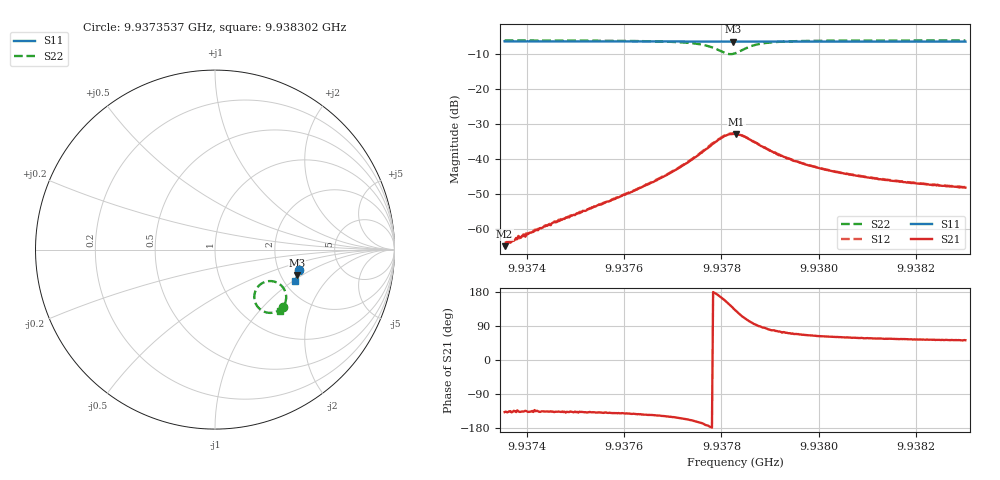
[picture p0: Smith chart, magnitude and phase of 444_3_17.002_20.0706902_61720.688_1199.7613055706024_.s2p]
#  HZ  S  RI  R  50.00
! Rohde & Schwarz Vector Network Analyzer
! Rohde-Schwarz,ZNB20-2Port,1311601062101988,3.16
! Created: UTC 3/20/2024, 11:12:00 PM
! freq[Hz]  re:S11  im:S11  re:S21  im:S21  re:S12  im:S12  re:S22  im:S22
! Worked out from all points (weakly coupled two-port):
!   401 points, 9.9373537 GHz to 9.938302 GHz, reference 50 ohm
!   highest |S21| = -32.82 dB at 9.9378302 GHz (marker M1); lowest = -65.0 dB at 9.9373537 GHz (marker M2)
!   lowest |S11| = -6.4 dB at 9.9378231 GHz (marker M3), VSWR 2.84, Z = 123 - j44.9 ohm
!   |S11| at or under -10 dB: nowhere
!   |S22| runs from -10.0 to -6.1 dB; largest |S21 - S12| = 0.001
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9.93735373e9  0.4703 -0.112  -0.000415 -0.000381  -0.000474 -0.00042  0.3806 -0.3203
9.93737269e9  0.4698 -0.1132  -0.00047 -0.000486  -0.000457 -0.00048  0.3793 -0.3217
9.9373964e9  0.4692 -0.1149  -0.000534 -0.000555  -0.000624 -0.000553  0.3773 -0.3234
9.93743433e9  0.4685 -0.1174  -0.000769 -0.000754  -0.000811 -0.000729  0.374 -0.3264
9.93751256e9  0.4667 -0.1226  -0.00127 -0.00119  -0.00131 -0.00116  0.3655 -0.333
9.93761687e9  0.4644 -0.1296  -0.00269 -0.00209  -0.0028 -0.00212  0.3482 -0.3434
9.93767139e9  0.4629 -0.1334  -0.00432 -0.00285  -0.00444 -0.00281  0.3318 -0.3497
9.93772592e9  0.4613 -0.1371  -0.00777 -0.00352  -0.00794 -0.0034  0.301 -0.3524
9.93776622e9  0.4596 -0.1397  -0.0133 -0.00213  -0.0136 -0.00203  0.2572 -0.3368
9.93778519e9  0.4586 -0.1408  -0.017 0.00074  -0.0172 0.00108  0.231 -0.3086
9.93780178e9  0.4578 -0.1411  -0.0194 0.00597  -0.0197 0.00679  0.2188 -0.2628
9.93781363e9  0.4574 -0.1412  -0.0192 0.0113  -0.0194 0.0121  0.2292 -0.2222
9.93782312e9  0.4572 -0.1414  -0.017 0.0152  -0.0169 0.0162  0.2524 -0.1943
9.93782786e9  0.4574 -0.1415  -0.0153 0.0169  -0.015 0.0177  0.2679 -0.1845
9.93783023e9  0.4575 -0.1416  -0.0145 0.0177  -0.0141 0.0184  0.2759 -0.1809
9.9378563e9  0.4579 -0.1428  -0.00431 0.0188  -0.00382 0.0192  0.3549 -0.1888
9.93788475e9  0.4578 -0.145  0.00114 0.0149  0.00152 0.015  0.3894 -0.229
9.93793454e9  0.457 -0.1488  0.00312 0.00967  0.0035 0.0098  0.396 -0.2743
9.93798669e9  0.4559 -0.1525  0.00337 0.00712  0.00352 0.00709  0.3907 -0.2975
9.9380507e9  0.4543 -0.1567  0.00313 0.00538  0.00327 0.00539  0.383 -0.3133
9.93814552e9  0.4517 -0.1628  0.00276 0.00412  0.00287 0.00409  0.3736 -0.3271
9.93830199e9  0.4473 -0.1729  0.00238 0.00307  0.00249 0.00307  0.3613 -0.3418
